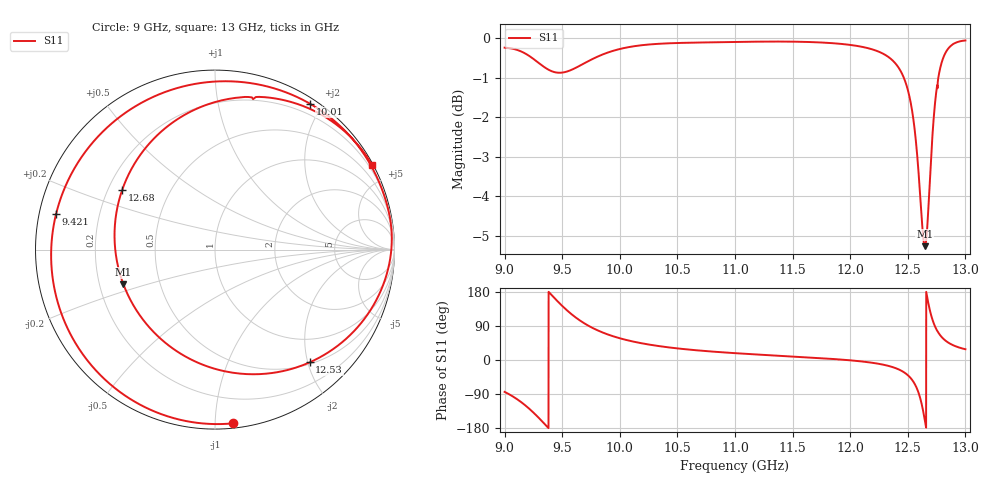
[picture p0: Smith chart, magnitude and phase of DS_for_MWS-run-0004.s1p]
! TOUCHSTONE file generated by CST DESIGN STUDIO
! Date and time: Tue Feb  4 16:48:20 2025
! Project name: C:\Work\MatlabApps\UnitCellOptimizationMatlab\CST\unitcell.cst
! Tree item: Tasks\Sweep1\SPara1\S-Parameters
! Header version: 2024
! Port assignment regex: !\s*Touchstone port\s*([0-9]+)\s*=\s*(CST MWS port|CST DES external port|CST DES block port)\s*(.+)\s* \(\"(.*)\"\)(\s*mode\s*([0-9]+))?.*
! Touchstone port assignment:
! Touchstone port 1 = CST DES external port 1 ("")
# GHz S MA R 50
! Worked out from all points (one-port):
!   4001 points, 9 GHz to 13 GHz, reference 50 ohm
!   lowest |S11| = -5.3 dB at 12.65 GHz (marker M1), VSWR 3.40, Z = 15.1 - j8.38 ohm
!   |S11| at or under -10 dB: nowhere
!   S11 on the Smith chart (normalised r, x): 9 GHz: 0.03, -1.11; 9.421 GHz: 0.05, +0.11; 10.01 GHz: 0.07, +1.85; 12.53 GHz: 0.53, -2.03; 12.68 GHz: 0.26, +0.28; 13 GHz: 0.05, +3.95
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9  0.9732 -84.1
9.113  0.9664 -104.4
9.206  0.9516 -126.5
9.322  0.9246 -160.7
9.421  0.9073 167.2
9.5  0.905 142.8
9.591  0.9138 118.4
9.691  0.9298 97.0
9.839  0.9525 74.1
10  0.9694 57.3
10.007  0.97 56.8
10.22  0.9812 42.5
10.5  0.9865 30.6
11  0.9896 18.0
11.5  0.9904 9.2
12  0.9811 -0.8
12.346  0.9438 -16.7
12.5  0.8608 -40.0
12.531  0.8203 -50.0
12.599  0.659 -91.6
12.623  0.5853 -119.5
12.648  0.5457 -159.2
12.68  0.6146 147.3
12.715  0.7576 105.6
12.754  0.8705 77.6
12.797  0.935 59.6
12.847  0.969 46.8
13  0.9939 28.4
